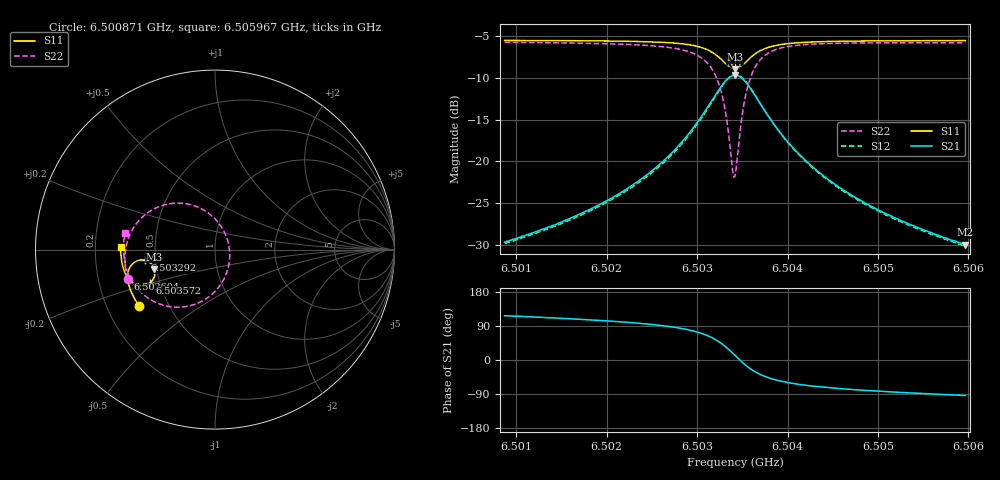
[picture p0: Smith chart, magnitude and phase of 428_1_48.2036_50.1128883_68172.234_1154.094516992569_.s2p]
#  HZ  S  RI  R  50.00
! Rohde & Schwarz Vector Network Analyzer
! Rohde-Schwarz,ZNB20-2Port,1311601062101988,3.16
! Created: UTC 3/20/2024, 11:55:12 AM
! freq[Hz]  re:S11  im:S11  re:S21  im:S21  re:S12  im:S12  re:S22  im:S22
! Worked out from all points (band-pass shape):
!   401 points, 6.500871 GHz to 6.505967 GHz, reference 50 ohm
!   highest |S21| = -9.71 dB at 6.503419 GHz (marker M1); lowest = -29.9 dB at 6.505967 GHz (marker M2)
!   |S21| within 3 dB of the highest: 6.503165 GHz to 6.503674 GHz (509.5 kHz wide, 0.00783 % of centre)
!   lowest |S11| = -9.0 dB at 6.503419 GHz (marker M3), VSWR 2.10, Z = 24.3 - j5.98 ohm
!   |S11| at or under -10 dB: nowhere
!   |S22| runs from -21.9 to -5.8 dB; largest |S21 - S12| = 0.011
!   S11 on the Smith chart (normalised r, x): 6.500871 GHz: 0.34, -0.30; 6.502604 GHz: 0.33, -0.15; 6.503292 GHz: 0.44, -0.06; 6.503572 GHz: 0.44, -0.20; 6.505967 GHz: 0.31, +0.01
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6.5008708e9  -0.4229 -0.3136  -0.0149 0.0295  -0.0133 0.0296  -0.4872 -0.1621
6.5017244e9  -0.46 -0.2513  -0.0144 0.0471  -0.012 0.0466  -0.5016 -0.0726
6.5021703e9  -0.4761 -0.2123  -0.0118 0.0647  -0.00891 0.0639  -0.5 -0.0108
6.502578e9  -0.4862 -0.1681  -0.00306 0.0953  0.000841 0.093  -0.4808 0.0684
6.5026035e9  -0.4866 -0.1649  -0.00173 0.098  0.002 0.0956  -0.4784 0.0745
6.5028965e9  -0.483 -0.1203  0.0251 0.1415  0.0288 0.1372  -0.4228 0.1634
6.5030877e9  -0.4623 -0.0821  0.0784 0.1835  0.081 0.1772  -0.3208 0.236
6.5032023e9  -0.4302 -0.0614  0.1467 0.2012  0.1476 0.1948  -0.198 0.2588
6.5032915e9  -0.3901 -0.0595  0.2256 0.1857  0.2259 0.1804  -0.0619 0.2198
6.5033297e9  -0.3709 -0.0669  0.2617 0.1632  0.2626 0.1583  -0.00205 0.1737
6.5033934e9  -0.3441 -0.0931  0.3094 0.0997  0.3121 0.0947  0.0703 0.052
6.5034189e9  -0.3379 -0.1077  0.3197 0.0678  0.323 0.0619  0.0814 -0.00751
6.5034444e9  -0.3348 -0.1231  0.3237 0.0343  0.3271 0.0272  0.0797 -0.0686
6.5035081e9  -0.3416 -0.1602  0.306 -0.0434  0.308 -0.0535  0.0252 -0.2034
6.5035718e9  -0.3627 -0.1861  0.2635 -0.0974  0.2624 -0.1088  -0.0705 -0.2863
6.5036737e9  -0.4021 -0.2015  0.1892 -0.1335  0.1838 -0.1432  -0.2199 -0.3206
6.5038394e9  -0.448 -0.1918  0.1078 -0.1308  0.1009 -0.1359  -0.3663 -0.2747
6.5040177e9  -0.4753 -0.1704  0.0636 -0.1109  0.0574 -0.1132  -0.438 -0.2102
6.5042725e9  -0.4961 -0.1404  0.0338 -0.0869  0.029 -0.0875  -0.4812 -0.1383
6.504642e9  -0.5113 -0.102  0.0154 -0.0644  0.0119 -0.0642  -0.5033 -0.0659
6.5051262e9  -0.521 -0.0574  0.00501 -0.0475  0.00278 -0.0468  -0.5099 0.00171
6.5059671e9  -0.5258 0.0135  -0.002 -0.0318  -0.00334 -0.0311  -0.5021 0.0899
